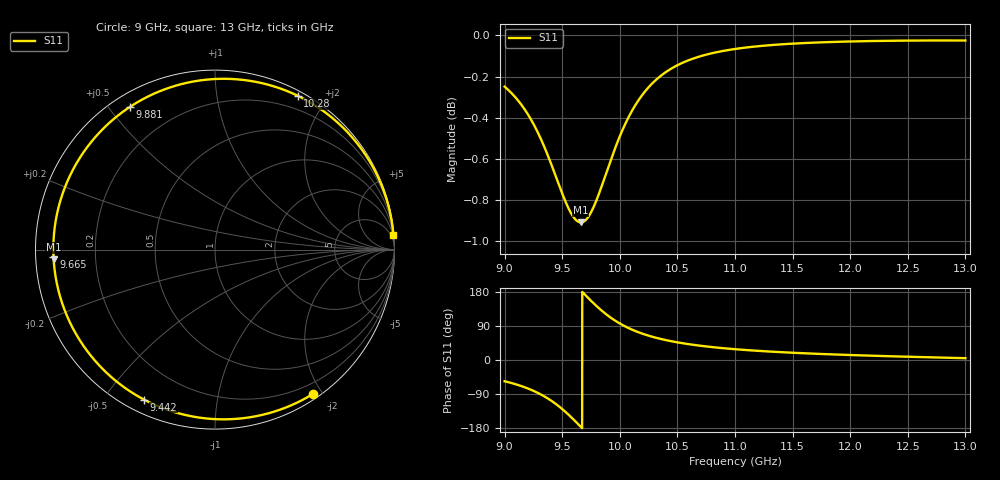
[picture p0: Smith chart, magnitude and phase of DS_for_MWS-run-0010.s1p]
! TOUCHSTONE file generated by CST DESIGN STUDIO
! Date and time: Tue Feb  4 14:04:24 2025
! Project name: C:\Work\MatlabApps\UnitCellOptimizationMatlab\CST\unitcell.cst
! Tree item: Tasks\Sweep1\SPara1\S-Parameters
! Header version: 2024
! Port assignment regex: !\s*Touchstone port\s*([0-9]+)\s*=\s*(CST MWS port|CST DES external port|CST DES block port)\s*(.+)\s* \(\"(.*)\"\)(\s*mode\s*([0-9]+))?.*
! Touchstone port assignment:
! Touchstone port 1 = CST DES external port 1 ("")
# GHz S MA R 50
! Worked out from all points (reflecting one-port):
!   4001 points, 9 GHz to 13 GHz, reference 50 ohm
!   lowest |S11| = -0.9 dB at 9.662 GHz (marker M1), VSWR 19.13, Z = 2.62 - j1.5 ohm
!   phase of S11 starts at -56 deg and turns -299 deg over the sweep
!   S11 on the Smith chart (normalised r, x): 9 GHz: 0.06, -1.88; 9.442 GHz: 0.05, -0.63; 9.665 GHz: 0.05, -0.02; 9.881 GHz: 0.05, +0.57; 10.28 GHz: 0.05, +1.67; 13 GHz: 1, +24
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9  0.9718 -56.0
9.115  0.9644 -65.7
9.227  0.9543 -78.2
9.347  0.9392 -96.4
9.396  0.9319 -105.6
9.442  0.9246 -115.4
9.5  0.9154 -129.4
9.544  0.9091 -141.2
9.589  0.9041 -154.2
9.626  0.9015 -165.4
9.662  0.9007 -176.6
9.665  0.9007 -177.5
9.711  0.9023 168.2
9.759  0.9067 153.6
9.821  0.9155 136.0
9.881  0.9257 120.8
9.938  0.9354 108.2
10  0.9451 96.3
10.134  0.9617 76.5
10.278  0.9733 61.7
10.382  0.9789 53.7
10.5  0.9835 46.6
10.719  0.9888 36.9
11  0.9925 28.5
11.5  0.9954 19.1
12  0.9966 13.1
12.5  0.9971 8.6
13  0.9972 4.8
